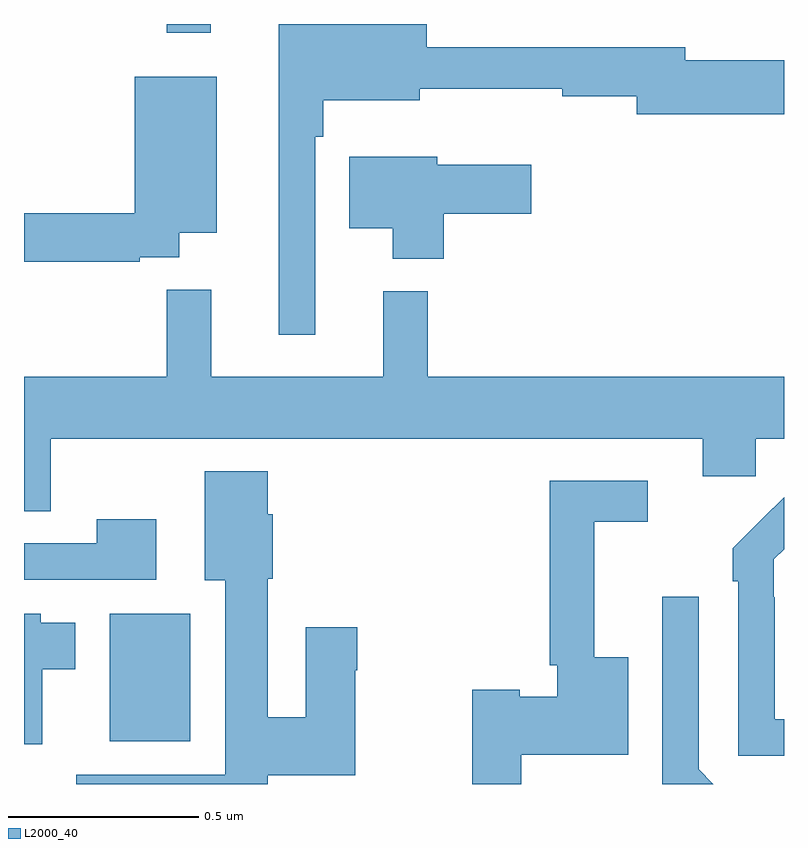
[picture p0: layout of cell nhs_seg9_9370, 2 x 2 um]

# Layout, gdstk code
import gdstk
lib = gdstk.Library(unit=1e-6, precision=1e-09)
def R(c, l, rs):  # rectangles x0, y0, x1, y1
    for r in rs: c.add(gdstk.rectangle(r[:2], r[2:], *l))
def P(c, l, *ps):  # polygons
    for p in ps: c.add(gdstk.Polygon(p, *l))
L2000_40 = (2000, 40)

nhs_seg9_9370 = lib.new_cell('nhs_seg9_9370')
R(nhs_seg9_9370, L2000_40, [(229.226,1207.613,229.438,1207.948), (229.375,1209.477,229.492,1209.5)])
P(nhs_seg9_9370, L2000_40, [(229.767,1209.203),(229.787,1209.203),(229.787,1209.299),(230.041,1209.299),(230.041,1209.329),(230.416,1209.329),(230.416,1209.31),(230.612,1209.31),(230.612,1209.263),(231,1209.263),(231,1209.405),(230.74,1209.405),(230.74,1209.439),(230.06,1209.439),(230.06,1209.5),(229.67,1209.5),(229.67,1208.682),(229.767,1208.682)],
  [(229.304,1208.886),(229.408,1208.886),(229.408,1208.951),(229.507,1208.951),(229.507,1209.361),(229.292,1209.361),(229.292,1209.002),(229,1209.002),(229,1208.874),(229.304,1208.874)],
  [(230.105,1209.001),(230.335,1209.001),(230.335,1209.13),(230.088,1209.13),(230.088,1209.151),(229.856,1209.151),(229.856,1208.963),(229.97,1208.963),(229.97,1208.882),(230.105,1208.882)],
  [(229.071,1208.408),(230.786,1208.408),(230.786,1208.31),(230.925,1208.31),(230.925,1208.408),(231,1208.408),(231,1208.572),(230.063,1208.572),(230.063,1208.797),(229.946,1208.797),(229.946,1208.572),(229.493,1208.572),(229.493,1208.801),(229.375,1208.801),(229.375,1208.572),(229,1208.572),(229,1208.218),(229.071,1208.218)],
  [(229.642,1207.523),(229.872,1207.523),(229.872,1207.799),(229.877,1207.799),(229.877,1207.912),(229.742,1207.912),(229.742,1207.676),(229.642,1207.676),(229.642,1208.04),(229.655,1208.04),(229.655,1208.21),(229.642,1208.21),(229.642,1208.323),(229.475,1208.323),(229.475,1208.036),(229.529,1208.036),(229.529,1207.524),(229.137,1207.524),(229.137,1207.5),(229.642,1207.5)],
  [(230.308,1207.577),(230.59,1207.577),(230.59,1207.834),(230.501,1207.834),(230.501,1208.19),(230.641,1208.19),(230.641,1208.298),(230.383,1208.298),(230.383,1207.813),(230.403,1207.813),(230.403,1207.73),(230.304,1207.73),(230.304,1207.748),(230.179,1207.748),(230.179,1207.5),(230.308,1207.5)],
  [(231,1207.671),(230.976,1207.671),(230.976,1207.991),(230.973,1207.991),(230.973,1208.091),(231,1208.118),(231,1208.254),(230.971,1208.225),(230.97,1208.226),(230.865,1208.121),(230.865,1208.033),(230.88,1208.033),(230.88,1207.575),(231,1207.575)],
  [(229.348,1208.197),(229.192,1208.197),(229.192,1208.133),(229,1208.133),(229,1208.037),(229.348,1208.037)],
  [(230.775,1207.539),(230.775,1207.993),(230.679,1207.993),(230.679,1207.5),(230.814,1207.5)],
  [(229.048,1207.802),(229.135,1207.802),(229.135,1207.924),(229.044,1207.924),(229.044,1207.948),(229,1207.948),(229,1207.604),(229.048,1207.604)])

lib.write_gds('nhs_seg9_9370.gds')
